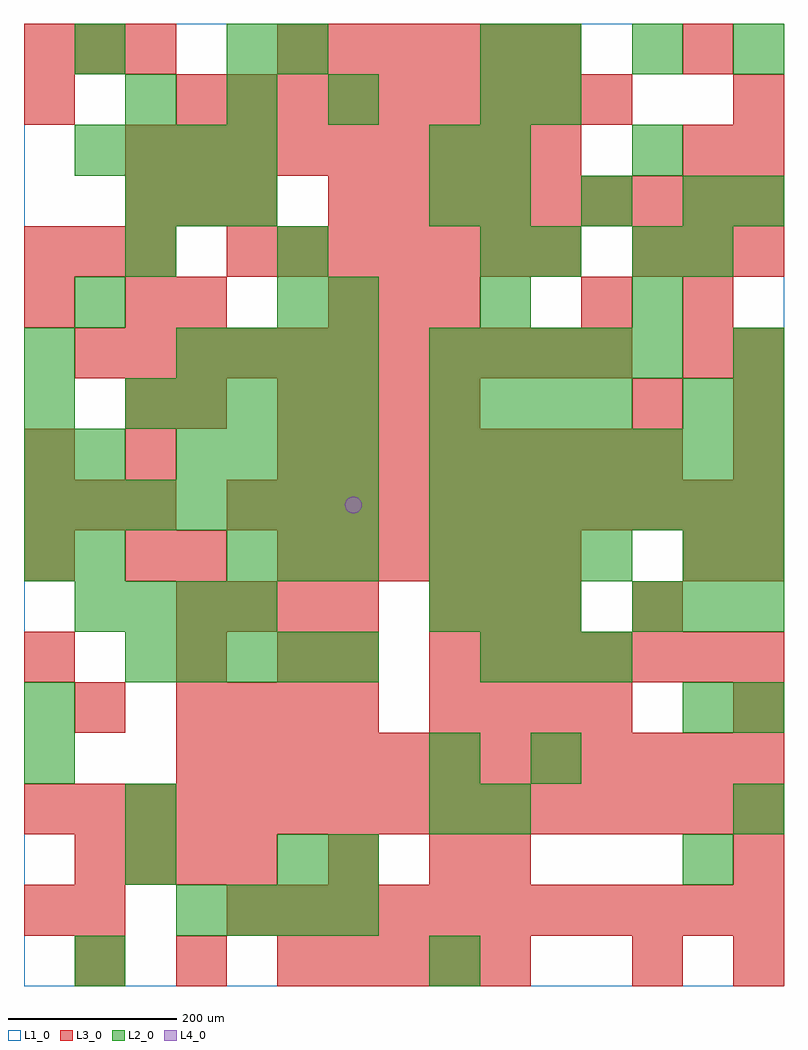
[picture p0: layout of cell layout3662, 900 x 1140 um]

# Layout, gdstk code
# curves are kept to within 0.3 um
import gdstk
lib = gdstk.Library(unit=1e-6, precision=1e-09)
def R(c, l, rs):  # rectangles x0, y0, x1, y1
    for r in rs: c.add(gdstk.rectangle(r[:2], r[2:], *l))
def A(c, l, x, y, w, h, nx, ny, dx, dy):  # array of equal rectangles
    R(c, l, [(x+i*dx, y+j*dy, x+i*dx+w, y+j*dy+h) for i in range(nx) for j in range(ny)])
def P(c, l, *ps):  # polygons
    for p in ps: c.add(gdstk.Polygon(p, *l))
L1_0 = (1, 0)
L2_0 = (2, 0)
L3_0 = (3, 0)
L4_0 = (4, 0)

layout3662 = lib.new_cell('layout3662')
R(layout3662, L1_0, [(0,0,900,1140)])
A(layout3662, L2_0, 180, 60, 60, 60, 4, 2, 60, 540)
A(layout3662, L2_0, 780, 120, 60, 60, 1, 5, 0, 180)
A(layout3662, L2_0, 840, 300, 60, 60, 1, 3, 0, 180)
A(layout3662, L2_0, 120, 360, 60, 60, 5, 2, 60, 300)
A(layout3662, L2_0, 540, 360, 60, 60, 3, 1, 60, 0)
A(layout3662, L2_0, 60, 420, 60, 60, 4, 2, 60, 540)
A(layout3662, L2_0, 480, 420, 60, 60, 3, 1, 60, 0)
A(layout3662, L2_0, 720, 420, 60, 60, 3, 1, 60, 0)
A(layout3662, L2_0, 240, 480, 60, 60, 3, 1, 60, 0)
A(layout3662, L2_0, 480, 480, 60, 60, 4, 2, 60, 180)
A(layout3662, L2_0, 0, 540, 60, 60, 7, 1, 60, 0)
A(layout3662, L2_0, 480, 540, 60, 60, 7, 2, 60, 60)
A(layout3662, L2_0, 0, 600, 60, 60, 1, 3, 0, 60)
A(layout3662, L2_0, 180, 720, 60, 60, 4, 1, 60, 0)
A(layout3662, L2_0, 480, 720, 60, 60, 5, 1, 60, 0)
A(layout3662, L2_0, 360, 780, 60, 60, 3, 1, 180, 0)
A(layout3662, L2_0, 120, 900, 60, 60, 3, 1, 60, 0)
A(layout3662, L2_0, 540, 900, 60, 60, 3, 1, 120, 0)
A(layout3662, L2_0, 540, 960, 60, 60, 1, 3, 0, 60)
A(layout3662, L2_0, 120, 1020, 60, 60, 3, 1, 120, 0)
A(layout3662, L2_0, 600, 1080, 60, 60, 3, 1, 120, 0)
R(layout3662, L2_0, [(60,0,120,60), (480,0,540,60), (120,120,180,180), (300,120,360,180), (360,120,420,180), (120,180,180,240), (480,180,540,240), (540,180,600,240), (840,180,900,240), (0,240,60,300), (480,240,540,300), (600,240,660,300), (0,300,60,360), (0,480,60,540), (60,480,120,540), (60,600,120,660), (840,720,900,780), (60,780,120,840), (300,780,360,840), (120,840,180,900), (300,840,360,900), (540,840,600,900), (600,840,660,900), (720,840,780,900), (480,900,540,960), (840,900,900,960), (480,960,540,1020), (720,960,780,1020), (600,1020,660,1080), (60,1080,120,1140), (240,1080,300,1140), (300,1080,360,1140)])
A(layout3662, L3_0, 60, 0, 60, 60, 3, 1, 120, 0)
A(layout3662, L3_0, 360, 0, 60, 60, 4, 1, 60, 0)
A(layout3662, L3_0, 240, 60, 60, 60, 11, 2, 60, 480)
A(layout3662, L3_0, 60, 120, 60, 60, 4, 1, 60, 0)
A(layout3662, L3_0, 840, 120, 60, 60, 1, 3, 0, 180)
A(layout3662, L3_0, 0, 180, 60, 60, 15, 1, 60, 0)
A(layout3662, L3_0, 180, 240, 60, 60, 12, 1, 60, 0)
A(layout3662, L3_0, 180, 300, 60, 60, 4, 2, 60, 120)
A(layout3662, L3_0, 480, 300, 60, 60, 4, 1, 60, 0)
A(layout3662, L3_0, 0, 360, 60, 60, 1, 3, 0, 120)
A(layout3662, L3_0, 480, 360, 60, 60, 7, 1, 60, 0)
A(layout3662, L3_0, 480, 420, 60, 60, 3, 1, 60, 0)
A(layout3662, L3_0, 300, 480, 60, 60, 6, 2, 60, 600)
A(layout3662, L3_0, 0, 540, 60, 60, 3, 2, 60, 300)
A(layout3662, L3_0, 300, 600, 60, 60, 8, 1, 60, 0)
A(layout3662, L3_0, 840, 600, 60, 60, 1, 3, 0, 60)
A(layout3662, L3_0, 300, 660, 60, 60, 4, 1, 60, 0)
A(layout3662, L3_0, 60, 720, 60, 60, 11, 1, 60, 0)
A(layout3662, L3_0, 360, 780, 60, 60, 3, 1, 60, 0)
A(layout3662, L3_0, 240, 840, 60, 60, 7, 1, 60, 0)
A(layout3662, L3_0, 720, 840, 60, 60, 3, 1, 60, 0)
A(layout3662, L3_0, 120, 900, 60, 60, 3, 1, 60, 0)
A(layout3662, L3_0, 360, 900, 60, 60, 9, 1, 60, 0)
A(layout3662, L3_0, 120, 960, 60, 60, 9, 1, 60, 0)
A(layout3662, L3_0, 180, 1020, 60, 60, 9, 1, 60, 0)
A(layout3662, L3_0, 0, 1080, 60, 60, 3, 1, 60, 0)
R(layout3662, L3_0, [(720,0,780,60), (840,0,900,60), (0,60,60,120), (60,60,120,120), (360,120,420,180), (480,120,540,180), (540,120,600,180), (60,300,120,360), (180,360,240,420), (300,360,360,420), (360,360,420,420), (720,420,780,480), (120,480,180,540), (180,480,240,540), (780,480,840,540), (120,600,180,660), (120,660,180,720), (180,660,240,720), (720,660,780,720), (780,720,840,780), (0,780,60,840), (120,780,180,840), (180,780,240,840), (660,780,720,840), (780,780,840,840), (780,960,840,1020), (840,960,900,1020), (0,1020,60,1080), (840,1020,900,1080), (780,1080,840,1140)])
P(layout3662, L4_0, [(400,570),(399.239,573.827),(397.071,577.071),(393.827,579.239),(390,580),(386.173,579.239),(382.929,577.071),(380.761,573.827),(380,570),(380.761,566.173),(382.929,562.929),(386.173,560.761),(390,560),(393.827,560.761),(397.071,562.929),(399.239,566.173)])

lib.write_gds('layout3662.gds')
